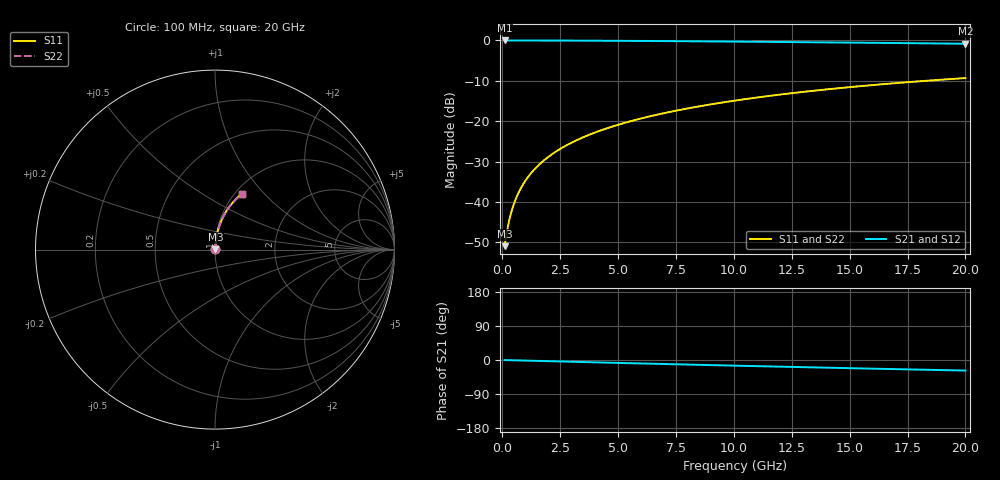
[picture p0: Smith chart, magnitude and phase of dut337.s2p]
! Touchstone file exported from HFSS 2024.1.0
!  File:  C:/UserFiles/LocalFiles/RDL_TSV_Batchsim/temp_RDL_bottom_337_1779611754.aedt
!  Generated:  04:39:03 PM May 24, 2026
!  Design:  RDL_bottom
!  Project:  temp_RDL_bottom_337_1779611754
!  Setup:  Setup1
!  Solution:  Sweep
! Variables:
!  dtsv = 10.80580581um
!  hbump = 3um
!  htsv = 98.28um
!  ldown = 328.66um
!  lrdl = 100um
!  p = 40
!  p1 = 51.3um
!  rhole = 1um
!  t = 450um
!  tdown = 4.62um
!  trdl = 3.915915916um
!  wdown = 12.36um
!  wrdl = 20um
# GHz S MA R 50.000000
! Terminal data exported
! Port[1] = RDL1_T1
! Port[2] = RDL1_T2
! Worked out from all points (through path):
!   200 points, 100 MHz to 20 GHz, reference 50 ohm
!   highest |S21| = -0.02 dB at 100 MHz (marker M1); lowest = -0.8 dB at 20 GHz (marker M2)
!   group delay of S21, straight-line fit = 3.86 ps
!   lowest |S11| = -51.0 dB at 100 MHz (marker M3), VSWR 1.01, Z = 50.2 + j0.187 ohm
!   |S11| at or under -10 dB: start of sweep to 18.31 GHz
!   |S22| runs from -51.0 to -9.3 dB; largest |S21 - S12| = 3.1e-15
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0.1  0.002835 41.2  0.9979 -0.2  0.9979 -0.2  0.002835 41.2
! Gamma 0 0 0 0
! Port Impedance 50 0 50 0
0.2  0.004304 59.5  0.9978 -0.3  0.9978 -0.3  0.004304 59.5
0.3  0.005964 67.9  0.9978 -0.5  0.9978 -0.5  0.005963 67.9
0.4  0.007684 72.6  0.9977 -0.6  0.9977 -0.6  0.007684 72.6
0.5  0.009434 75.5  0.9976 -0.8  0.9976 -0.8  0.009433 75.6
0.6  0.0112 77.6  0.9975 -1.0  0.9975 -1.0  0.0112 77.6
0.8  0.01476 80.1  0.9974 -1.3  0.9974 -1.3  0.01476 80.1
1.1  0.02014 82.0  0.9971 -1.7  0.9971 -1.7  0.02014 82.0
1.5  0.02734 83.2  0.9966 -2.4  0.9966 -2.4  0.02734 83.2
1.8  0.03274 83.6  0.9962 -2.8  0.9962 -2.8  0.03274 83.6
2.1  0.03815 83.8  0.9957 -3.3  0.9957 -3.3  0.03815 83.8
2.7  0.04894 83.8  0.9946 -4.2  0.9946 -4.2  0.04895 83.8
3.5  0.06332 83.4  0.9926 -5.4  0.9926 -5.4  0.06332 83.4
4.2  0.07587 82.9  0.9906 -6.5  0.9906 -6.5  0.07587 82.9
5  0.0902 82.2  0.988 -7.7  0.988 -7.7  0.0902 82.2
5.9  0.1063 81.4  0.9847 -9.0  0.9847 -9.0  0.1063 81.4
6.8  0.1223 80.4  0.9811 -10.4  0.9811 -10.4  0.1223 80.4
8.3  0.149 78.7  0.9745 -12.5  0.9745 -12.5  0.149 78.7
10.1  0.1807 76.6  0.9659 -15.0  0.9659 -15.0  0.1807 76.6
13.4  0.2373 72.5  0.9483 -19.5  0.9483 -19.5  0.2373 72.6
16.7  0.2912 68.4  0.929 -23.8  0.929 -23.8  0.2912 68.4
20  0.3416 64.3  0.9083 -27.9  0.9083 -27.9  0.3416 64.3
